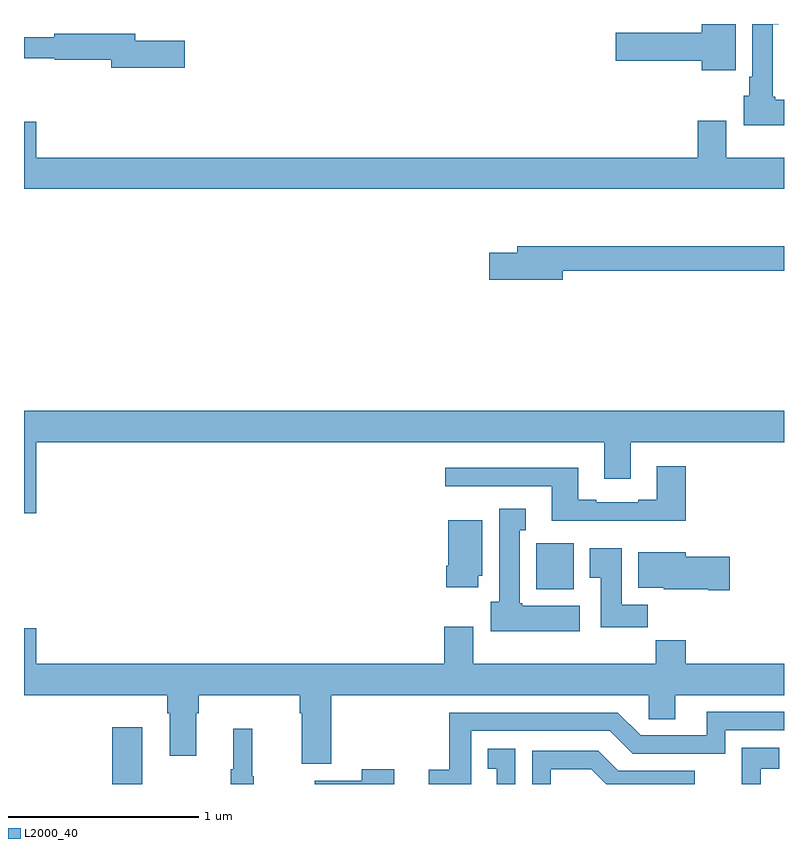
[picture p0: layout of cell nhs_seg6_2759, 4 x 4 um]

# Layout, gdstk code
import gdstk
lib = gdstk.Library(unit=1e-6, precision=1e-09)
def R(c, l, rs):  # rectangles x0, y0, x1, y1
    for r in rs: c.add(gdstk.rectangle(r[:2], r[2:], *l))
def P(c, l, *ps):  # polygons
    for p in ps: c.add(gdstk.Polygon(p, *l))
L2000_40 = (2000, 40)

nhs_seg6_2759 = lib.new_cell('nhs_seg6_2759')
R(nhs_seg6_2759, L2000_40, [(273.464,981.5,273.622,981.799), (275.696,982.526,275.893,982.768)])
P(nhs_seg6_2759, L2000_40, [(277,985.102),(276.954,985.102),(276.954,985.116),(276.94,985.116),(276.94,985.499),(276.973,985.499),(276.973,985.5),(276.833,985.5),(276.833,985.222),(276.818,985.222),(276.818,985.122),(276.788,985.122),(276.788,984.968),(277,984.968)],
  [(276.745,985.5),(276.566,985.5),(276.566,985.454),(276.114,985.454),(276.114,985.307),(276.566,985.307),(276.566,985.256),(276.745,985.256)],
  [(273.847,985.412),(273.586,985.412),(273.586,985.448),(273.16,985.448),(273.16,985.429),(273,985.429),(273,985.32),(273.162,985.32),(273.162,985.312),(273.458,985.312),(273.458,985.27),(273.847,985.27)],
  [(277,984.796),(276.697,984.796),(276.697,984.991),(276.545,984.991),(276.545,984.796),(273.064,984.796),(273.064,984.985),(273,984.985),(273,984.632),(277,984.632)],
  [(275.836,984.202),(277,984.202),(277,984.331),(275.597,984.331),(275.597,984.297),(275.448,984.297),(275.448,984.155),(275.836,984.155)],
  [(273.064,983.3),(276.053,983.3),(276.053,983.106),(276.193,983.106),(276.193,983.3),(277,983.3),(277,983.464),(273,983.464),(273,982.926),(273.064,982.926)],
  [(276.482,983.173),(276.329,983.173),(276.329,982.996),(276.233,982.996),(276.233,982.983),(276.013,982.983),(276.013,982.996),(275.917,982.996),(275.917,983.164),(275.217,983.164),(275.217,983.067),(275.777,983.067),(275.777,982.886),(276.482,982.886)],
  [(275.926,982.438),(275.622,982.438),(275.622,982.452),(275.608,982.452),(275.608,982.835),(275.641,982.835),(275.641,982.948),(275.501,982.948),(275.501,982.458),(275.456,982.458),(275.456,982.304),(275.926,982.304)],
  [(275.392,982.596),(275.413,982.596),(275.413,982.888),(275.234,982.888),(275.234,982.648),(275.222,982.648),(275.222,982.536),(275.392,982.536)],
  [(276.284,982.444),(276.145,982.444),(276.145,982.741),(275.978,982.741),(275.978,982.585),(276.035,982.585),(276.035,982.326),(276.284,982.326)],
  [(276.715,982.697),(276.484,982.697),(276.484,982.72),(276.233,982.72),(276.233,982.532),(276.366,982.532),(276.366,982.526),(276.602,982.526),(276.602,982.519),(276.715,982.519)],
  [(274.616,981.968),(276.288,981.968),(276.288,981.841),(276.427,981.841),(276.427,981.968),(277,981.968),(277,982.132),(276.482,982.132),(276.482,982.256),(276.325,982.256),(276.325,982.132),(275.365,982.132),(275.365,982.327),(275.213,982.327),(275.213,982.132),(273.064,982.132),(273.064,982.321),(273,982.321),(273,981.968),(273.755,981.968),(273.755,981.872),(273.767,981.872),(273.767,981.648),(273.907,981.648),(273.907,981.872),(273.92,981.872),(273.92,981.968),(274.451,981.968),(274.451,981.872),(274.463,981.872),(274.463,981.606),(274.616,981.606)],
  [(275.355,981.78),(276.084,981.78),(276.204,981.66),(276.69,981.66),(276.69,981.783),(277,981.783),(277,981.879),(276.593,981.879),(276.593,981.756),(276.246,981.756),(276.126,981.876),(275.239,981.876),(275.239,981.574),(275.129,981.574),(275.129,981.5),(275.355,981.5)],
  [(274.21,981.54),(274.202,981.54),(274.202,981.79),(274.1,981.79),(274.1,981.577),(274.089,981.577),(274.089,981.5),(274.21,981.5)],
  [(276.878,981.581),(276.976,981.581),(276.976,981.691),(276.778,981.691),(276.778,981.5),(276.878,981.5)],
  [(275.586,981.685),(275.44,981.685),(275.44,981.579),(275.489,981.579),(275.489,981.5),(275.586,981.5)],
  [(275.772,981.578),(275.986,981.578),(276.064,981.5),(276.531,981.5),(276.531,981.57),(276.127,981.57),(276.022,981.675),(275.676,981.675),(275.676,981.5),(275.772,981.5)],
  [(274.948,981.577),(274.778,981.577),(274.778,981.517),(274.529,981.517),(274.529,981.5),(274.948,981.5)])

lib.write_gds('nhs_seg6_2759.gds')
